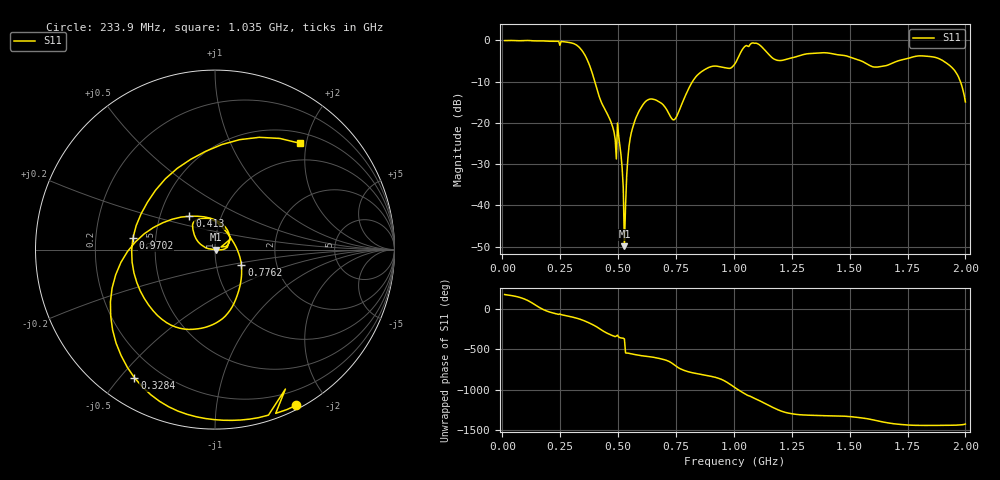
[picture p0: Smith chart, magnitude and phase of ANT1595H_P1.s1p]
!Created with skrf (http://scikit-rf.org).
# Hz S RI R 50.0
!freq ReS11 ImS11
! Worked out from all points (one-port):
!   401 points, 10 MHz to 2 GHz, reference 50 ohm
!   lowest |S11| = -49.9 dB at 527.4 MHz (marker M1), VSWR 1.01, Z = 50.3 - j0.0682 ohm
!   |S11| at or under -10 dB: 399.5 MHz to 821.1 MHz (421.6 MHz wide, 69.1 % of centre); 1.978 GHz to end of sweep
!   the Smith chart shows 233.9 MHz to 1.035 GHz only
!   S11 on the Smith chart (normalised r, x): 233.9 MHz: 0.04, -1.65; 328.4 MHz: 0.11, -0.55; 413 MHz: 0.71, +0.28; 776.1 MHz: 1.32, -0.24; 970.2 MHz: 0.37, +0.06; 1.035 GHz: 0.68, +1.90
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1e7  -0.9905 0.0701
7.965e7  -0.7244 0.6743
1.24425e8  0.1772 0.9757
1.692e8  0.9862 0.029
1.9905e8  0.7989 -0.5597
2.33875e8  0.4523 -0.8673
2.5875e8  0.2417 -0.9366
3.284e8  -0.4488 -0.7138
3.63225e8  -0.5735 -0.2151
4.12975e8  -0.1424 0.1858
5.075e8  0.0543 0.00356
5.274e8  0.00314 -0.000677
5.5725e8  -0.0723 0.0236
6.02025e8  -0.1206 0.1014
7.5625e8  0.1251 -0.00312
7.7615e8  0.1473 -0.0877
8.9555e8  -0.1714 -0.4427
9.70175e8  -0.4574 0.0638
1.005e9  -0.134 0.5038
1.03485e9  0.4762 0.5916
1.079625e9  0.9022 -0.2266
1.1244e9  0.2146 -0.7851
1.17415e9  -0.4948 -0.3261
1.25375e9  -0.4825 0.3833
1.5025e9  -0.1906 0.5963
1.75125e9  0.6029 0.0401
1.915425e9  0.5385 0.00334
2e9  0.1729 0.0483
